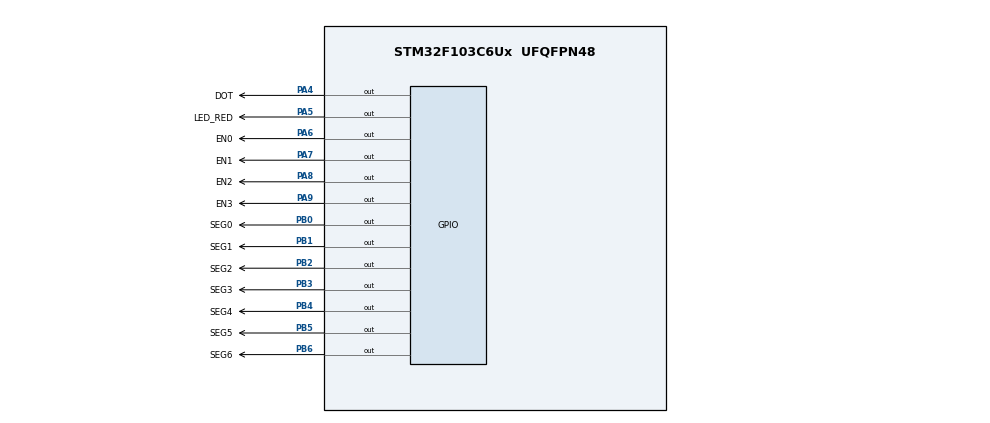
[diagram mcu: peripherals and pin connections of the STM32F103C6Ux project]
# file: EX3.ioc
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Mcu.Family=STM32F1
Mcu.Name=STM32F103C6Ux
Mcu.Package=UFQFPN48
NVIC.PriorityGroup=NVIC_PRIORITYGROUP_4
NVIC.TIM2_IRQn=true\:0\:0\:false\:false\:true\:true\:true
PA13.Mode=Serial_Wire
PA13.Signal=SYS_JTMS-SWDIO
PA14.Mode=Serial_Wire
PA14.Signal=SYS_JTCK-SWCLK
PA4.GPIO_Label=DOT
PA4.Signal=GPIO_Output
PA5.GPIO_Label=LED_RED
PA5.Signal=GPIO_Output
PA6.GPIO_Label=EN0
PA6.Signal=GPIO_Output
PA7.GPIO_Label=EN1
PA7.Signal=GPIO_Output
PA8.GPIO_Label=EN2
PA8.Signal=GPIO_Output
PA9.GPIO_Label=EN3
PA9.Signal=GPIO_Output
PB0.GPIO_Label=SEG0
PB0.Signal=GPIO_Output
PB1.GPIO_Label=SEG1
PB1.Signal=GPIO_Output
PB2.GPIO_Label=SEG2
PB2.Signal=GPIO_Output
PB3.GPIO_Label=SEG3
PB3.Signal=GPIO_Output
PB4.GPIO_Label=SEG4
PB4.Signal=GPIO_Output
PB5.GPIO_Label=SEG5
PB5.Signal=GPIO_Output
PB6.GPIO_Label=SEG6
PB6.Signal=GPIO_Output
ProjectManager.HeapSize=0x200
ProjectManager.StackSize=0x400
ProjectManager.TargetToolchain=STM32CubeIDE
RCC.APB1Freq_Value=8000000
RCC.APB2Freq_Value=8000000
TIM2.Period=9
TIM2.Prescaler=7999
VP_TIM2_VS_ClockSourceINT.Mode=Internal
board=custom

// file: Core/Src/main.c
/* USER CODE BEGIN Header */
/**
  ******************************************************************************
  * @file           : main.c
  * @brief          : Main program body
  ******************************************************************************
  * @attention
  *
  * <h2><center>&copy; Copyright (c) 2023 STMicroelectronics.
  * All rights reserved.</center></h2>
  *
  * This software component is licensed by ST under BSD 3-Clause license,
  * the "License"; You may not use this file except in compliance with the
  * License. You may obtain a copy of the License at:
  *                        opensource.org/licenses/BSD-3-Clause
  *
  ******************************************************************************
  */
/* USER CODE END Header */
#include "main.h"

TIM_HandleTypeDef htim2;

void SystemClock_Config(void);
static void MX_GPIO_Init(void);
static void MX_TIM2_Init(void);

int main(void)
{

  /* MCU Configuration--------------------------------------------------------*/

  /* Reset of all peripherals, Initializes the Flash interface and the Systick. */
  HAL_Init();

  /* Configure the system clock */
  SystemClock_Config();

  /* Initialize all configured peripherals */
  MX_GPIO_Init();
  MX_TIM2_Init();
  /* USER CODE BEGIN 2 */
  HAL_TIM_Base_Start_IT(&htim2);
  /* USER CODE END 2 */

  /* Infinite loop */
  while (1)
  {

  }
}

void SystemClock_Config(void)
{
  RCC_OscInitTypeDef RCC_OscInitStruct = {0};
  RCC_ClkInitTypeDef RCC_ClkInitStruct = {0};

  /** Initializes the RCC Oscillators according to the specified parameters
  * in the RCC_OscInitTypeDef structure.
  */
  RCC_OscInitStruct.OscillatorType = RCC_OSCILLATORTYPE_HSI;
  RCC_OscInitStruct.HSIState = RCC_HSI_ON;
  RCC_OscInitStruct.HSICalibrationValue = RCC_HSICALIBRATION_DEFAULT;
  RCC_OscInitStruct.PLL.PLLState = RCC_PLL_NONE;
  if (HAL_RCC_OscConfig(&RCC_OscInitStruct) != HAL_OK)
  {
    Error_Handler();
  }
  /** Initializes the CPU, AHB and APB buses clocks
  */
  RCC_ClkInitStruct.ClockType = RCC_CLOCKTYPE_HCLK|RCC_CLOCKTYPE_SYSCLK
                              |RCC_CLOCKTYPE_PCLK1|RCC_CLOCKTYPE_PCLK2;
  RCC_ClkInitStruct.SYSCLKSource = RCC_SYSCLKSOURCE_HSI;
  RCC_ClkInitStruct.AHBCLKDivider = RCC_SYSCLK_DIV1;
  RCC_ClkInitStruct.APB1CLKDivider = RCC_HCLK_DIV1;
  RCC_ClkInitStruct.APB2CLKDivider = RCC_HCLK_DIV1;

  if (HAL_RCC_ClockConfig(&RCC_ClkInitStruct, FLASH_LATENCY_0) != HAL_OK)
  {
    Error_Handler();
  }
}

static void MX_TIM2_Init(void)
{

  TIM_ClockConfigTypeDef sClockSourceConfig = {0};
  TIM_MasterConfigTypeDef sMasterConfig = {0};

  htim2.Instance = TIM2;
  htim2.Init.Prescaler = 7999;
  htim2.Init.CounterMode = TIM_COUNTERMODE_UP;
  htim2.Init.Period = 9;
  htim2.Init.ClockDivision = TIM_CLOCKDIVISION_DIV1;
  htim2.Init.AutoReloadPreload = TIM_AUTORELOAD_PRELOAD_DISABLE;
  if (HAL_TIM_Base_Init(&htim2) != HAL_OK)
  {
    Error_Handler();
  }
  sClockSourceConfig.ClockSource = TIM_CLOCKSOURCE_INTERNAL;
  if (HAL_TIM_ConfigClockSource(&htim2, &sClockSourceConfig) != HAL_OK)
  {
    Error_Handler();
  }
  sMasterConfig.MasterOutputTrigger = TIM_TRGO_RESET;
  sMasterConfig.MasterSlaveMode = TIM_MASTERSLAVEMODE_DISABLE;
  if (HAL_TIMEx_MasterConfigSynchronization(&htim2, &sMasterConfig) != HAL_OK)
  {
    Error_Handler();
  }

}

static void MX_GPIO_Init(void)
{
  GPIO_InitTypeDef GPIO_InitStruct = {0};

  /* GPIO Ports Clock Enable */
  __HAL_RCC_GPIOA_CLK_ENABLE();
  __HAL_RCC_GPIOB_CLK_ENABLE();

  /*Configure GPIO pin Output Level */
  HAL_GPIO_WritePin(GPIOA, DOT_Pin|LED_RED_Pin|EN0_Pin|EN1_Pin
                          |EN2_Pin|EN3_Pin, GPIO_PIN_RESET);

  /*Configure GPIO pin Output Level */
  HAL_GPIO_WritePin(GPIOB, SEG0_Pin|SEG1_Pin|SEG2_Pin|SEG3_Pin
                          |SEG4_Pin|SEG5_Pin|SEG6_Pin, GPIO_PIN_RESET);

  /*Configure GPIO pins : DOT_Pin LED_RED_Pin EN0_Pin EN1_Pin
                           EN2_Pin EN3_Pin */
  GPIO_InitStruct.Pin = DOT_Pin|LED_RED_Pin|EN0_Pin|EN1_Pin
                          |EN2_Pin|EN3_Pin;
  GPIO_InitStruct.Mode = GPIO_MODE_OUTPUT_PP;
  GPIO_InitStruct.Pull = GPIO_NOPULL;
  GPIO_InitStruct.Speed = GPIO_SPEED_FREQ_LOW;
  HAL_GPIO_Init(GPIOA, &GPIO_InitStruct);

  /*Configure GPIO pins : SEG0_Pin SEG1_Pin SEG2_Pin SEG3_Pin
                           SEG4_Pin SEG5_Pin SEG6_Pin */
  GPIO_InitStruct.Pin = SEG0_Pin|SEG1_Pin|SEG2_Pin|SEG3_Pin
                          |SEG4_Pin|SEG5_Pin|SEG6_Pin;
  GPIO_InitStruct.Mode = GPIO_MODE_OUTPUT_PP;
  GPIO_InitStruct.Pull = GPIO_NOPULL;
  GPIO_InitStruct.Speed = GPIO_SPEED_FREQ_LOW;
  HAL_GPIO_Init(GPIOB, &GPIO_InitStruct);

}

/* USER CODE BEGIN 4 */
void display7SEG( int num ){
    char LED7SEG [10] = {0xC0, 0xF9, 0xA4, 0xB0, 0x99, 0x92, 0x82, 0xF8, 0x80, 0x90 };
    for ( int i = 0; i < 7; ++ i) {
    HAL_GPIO_WritePin ( GPIOB , GPIO_PIN_0 << i , ( LED7SEG [num ] >> i ) & 1) ;}
    }
void pinenable(int a){
  	if (a == 0){
  		HAL_GPIO_WritePin(GPIOA, EN0_Pin, RESET);
  		HAL_GPIO_WritePin(GPIOA, EN1_Pin, SET);
  		HAL_GPIO_WritePin(GPIOA, EN2_Pin, SET);
  		HAL_GPIO_WritePin(GPIOA, EN3_Pin, SET);
  	}
  	if (a == 1){
  		HAL_GPIO_WritePin(GPIOA, EN0_Pin, SET);
  		HAL_GPIO_WritePin(GPIOA, EN1_Pin, RESET);
  		HAL_GPIO_WritePin(GPIOA, EN2_Pin, SET);
  		HAL_GPIO_WritePin(GPIOA, EN3_Pin, SET);
  	}
  	if (a == 2){
  	  	HAL_GPIO_WritePin(GPIOA, EN1_Pin, SET);
  	  	HAL_GPIO_WritePin(GPIOA, EN0_Pin, SET);
  	  	HAL_GPIO_WritePin(GPIOA, EN2_Pin, RESET);
  	  	HAL_GPIO_WritePin(GPIOA, EN3_Pin, SET);
  	  	}
  	if (a == 3){
  	  	HAL_GPIO_WritePin(GPIOA, EN1_Pin, SET);
  	  	HAL_GPIO_WritePin(GPIOA, EN0_Pin, SET);
  	  	HAL_GPIO_WritePin(GPIOA, EN2_Pin, SET);
  	  	HAL_GPIO_WritePin(GPIOA, EN3_Pin, RESET);
  	  	}
  }
const int MAX_LED = 4;
int index_led = 0;
int led_buffer [4] = {1 , 2 , 3 , 4};
void update7SEG ( int index ) {
	switch ( index ) {
		case 0:
			// Display the first 7 SEG with led_buffer [0]
			display7SEG(led_buffer[0]);
			pinenable(0);
			break ;
		case 1:
			// Display the second 7 SEG with led_buffer [1]
			display7SEG(led_buffer[1]);
			pinenable(1);
			break ;
		case 2:
			// Display the third 7 SEG with led_buffer [2]
			display7SEG(led_buffer[2]);
			pinenable(2);
			break ;
		case 3:
			// Display the forth 7 SEG with led_buffer [3]
			display7SEG(led_buffer[3]);
			pinenable(3);
	}
}
int counter = 50;
void HAL_TIM_PeriodElapsedCallback(TIM_HandleTypeDef *htim){
    counter--;
	if (counter <=0){
		counter = 50;
	 	HAL_GPIO_TogglePin(GPIOA, LED_RED_Pin);
	 	HAL_GPIO_TogglePin(GPIOA, DOT_Pin);
	 	update7SEG(index_led);
	 	index_led++;
	 	if (index_led >= MAX_LED ) index_led = 0;
	}
}
/* USER CODE END 4 */

void Error_Handler(void)
{
  __disable_irq();
  while (1)
  {
  }
}

/************************ (C) COPYRIGHT STMicroelectronics *****END OF FILE****/
